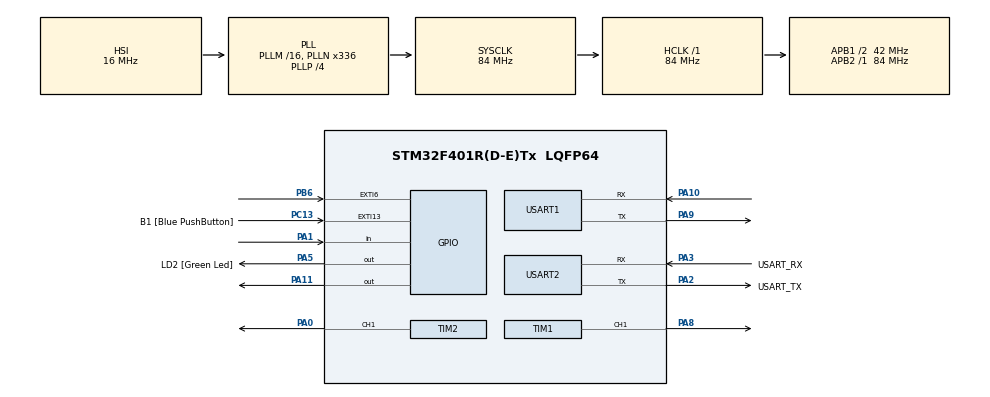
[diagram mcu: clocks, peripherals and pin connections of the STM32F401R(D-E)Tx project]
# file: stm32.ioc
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FREERTOS.Tasks01=defaultTask,24,128,StartDefaultTask,Default,NULL,Dynamic,NULL,NULL;ultraSonicTask,16,128,StartUltraSonic,Default,NULL,Dynamic,NULL,NULL;loadCellTask,8,128,StartLoadCell,Default,NULL,Dynamic,NULL,NULL;closeBinTask,8,128,StartCloseBin,Default,NULL,Dynamic,NULL,NULL
FREERTOS.configUSE_NEWLIB_REENTRANT=1
Mcu.Family=STM32F4
Mcu.Name=STM32F401R(D-E)Tx
Mcu.Package=LQFP64
NVIC.EXTI9_5_IRQn=true\:5\:0\:false\:false\:true\:true\:true\:true\:true
NVIC.PriorityGroup=NVIC_PRIORITYGROUP_4
NVIC.TIM3_IRQn=true\:15\:0\:false\:false\:true\:false\:false\:true\:true
NVIC.TimeBase=TIM3_IRQn
NVIC.TimeBaseIP=TIM3
PA0-WKUP.Signal=S_TIM2_CH1_ETR
PA1.Signal=GPIO_Input
PA10.Mode=Asynchronous
PA10.Signal=USART1_RX
PA11.Signal=GPIO_Output
PA13.GPIO_Label=TMS
PA13.Mode=Serial_Wire
PA13.Signal=SYS_JTMS-SWDIO
PA14.GPIO_Label=TCK
PA14.Mode=Serial_Wire
PA14.Signal=SYS_JTCK-SWCLK
PA2.GPIO_Label=USART_TX
PA2.GPIO_Mode=GPIO_MODE_AF_PP
PA2.GPIO_PuPd=GPIO_NOPULL
PA2.GPIO_Speed=GPIO_SPEED_FREQ_LOW
PA2.Mode=Asynchronous
PA2.Signal=USART2_TX
PA3.GPIO_Label=USART_RX
PA3.GPIO_Mode=GPIO_MODE_AF_PP
PA3.GPIO_PuPd=GPIO_NOPULL
PA3.GPIO_Speed=GPIO_SPEED_FREQ_LOW
PA3.Mode=Asynchronous
PA3.Signal=USART2_RX
PA5.GPIO_Label=LD2 [Green Led]
PA5.GPIO_Mode=GPIO_MODE_OUTPUT_PP
PA5.GPIO_PuPd=GPIO_NOPULL
PA5.GPIO_Speed=GPIO_SPEED_FREQ_LOW
PA5.Signal=GPIO_Output
PA8.Signal=S_TIM1_CH1
PA9.Mode=Asynchronous
PA9.Signal=USART1_TX
PB3.GPIO_Label=SWO
PB3.Signal=SYS_JTDO-SWO
PB6.Signal=GPXTI6
PC13-ANTI_TAMP.GPIO_Label=B1 [Blue PushButton]
PC13-ANTI_TAMP.GPIO_ModeDefaultEXTI=GPIO_MODE_IT_FALLING
PC13-ANTI_TAMP.GPIO_PuPd=GPIO_NOPULL
PC13-ANTI_TAMP.Signal=GPXTI13
PC14-OSC32_IN.Mode=LSE-External-Oscillator
PC14-OSC32_IN.Signal=RCC_OSC32_IN
PC15-OSC32_OUT.Mode=LSE-External-Oscillator
PC15-OSC32_OUT.Signal=RCC_OSC32_OUT
PH0\ -\ OSC_IN.Mode=HSE-External-Clock-Source
PH0\ -\ OSC_IN.Signal=RCC_OSC_IN
PH1\ -\ OSC_OUT.Mode=HSE-External-Clock-Source
PH1\ -\ OSC_OUT.Signal=RCC_OSC_OUT
ProjectManager.HeapSize=0x200
ProjectManager.StackSize=0x400
ProjectManager.TargetToolchain=STM32CubeIDE
RCC.48MHZClocksFreq_Value=48000000
RCC.AHBFreq_Value=84000000
RCC.APB1CLKDivider=RCC_HCLK_DIV2
RCC.APB1Freq_Value=42000000
RCC.APB1TimFreq_Value=84000000
RCC.APB2Freq_Value=84000000
RCC.APB2TimFreq_Value=84000000
RCC.CortexFreq_Value=84000000
RCC.HCLKFreq_Value=84000000
RCC.HSE_VALUE=8000000
RCC.HSI_VALUE=16000000
RCC.PLLN=336
RCC.PLLP=RCC_PLLP_DIV4
RCC.PLLQ=7
RCC.SYSCLKFreq_VALUE=84000000
RCC.SYSCLKSource=RCC_SYSCLKSOURCE_PLLCLK
RCC.VCOOutputFreq_Value=336000000
SH.S_TIM1_CH1.0=TIM1_CH1,PWM Generation1 CH1
SH.S_TIM2_CH1_ETR.0=TIM2_CH1,PWM Generation1 CH1
TIM1.Channel-PWM\ Generation1\ CH1=TIM_CHANNEL_1
TIM1.Period=1000 - 1
TIM1.Prescaler=84 - 1
TIM2.AutoReloadPreload=TIM_AUTORELOAD_PRELOAD_ENABLE
TIM2.Channel-PWM\ Generation1\ CH1=TIM_CHANNEL_1
TIM2.Period=100 - 1
TIM2.Prescaler=16800 - 1
USART1.VirtualMode=VM_ASYNC
USART2.VirtualMode=VM_ASYNC
VP_FREERTOS_VS_CMSIS_V2.Mode=CMSIS_V2
VP_SYS_VS_tim3.Mode=TIM3
VP_TIM2_VS_ClockSourceINT.Mode=Internal
board=NUCLEO-F401RE

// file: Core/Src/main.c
/* USER CODE BEGIN Header */
/**
 ******************************************************************************
 * @file           : main.c
 * @brief          : Main program body
 ******************************************************************************
 * @attention
 *
 * Copyright (c) 2023 STMicroelectronics.
 * All rights reserved.
 *
 * This software is licensed under terms that can be found in the LICENSE file
 * in the root directory of this software component.
 * If no LICENSE file comes with this software, it is provided AS-IS.
 *
 ******************************************************************************
 */
/* USER CODE END Header */
#include "main.h"
#include "cmsis_os.h"

/* USER CODE BEGIN Includes */
#include "hx711.h"
/* USER CODE END Includes */

TIM_HandleTypeDef htim1;
TIM_HandleTypeDef htim2;

UART_HandleTypeDef huart1;
UART_HandleTypeDef huart2;

/* Definitions for defaultTask */
osThreadId_t defaultTaskHandle;
const osThreadAttr_t defaultTask_attributes = {
  .name = "defaultTask",
  .stack_size = 128 * 4,
  .priority = (osPriority_t) osPriorityNormal,
};
/* Definitions for ultraSonicTask */
osThreadId_t ultraSonicTaskHandle;
const osThreadAttr_t ultraSonicTask_attributes = {
  .name = "ultraSonicTask",
  .stack_size = 128 * 4,
  .priority = (osPriority_t) osPriorityBelowNormal,
};
/* Definitions for loadCellTask */
osThreadId_t loadCellTaskHandle;
const osThreadAttr_t loadCellTask_attributes = {
  .name = "loadCellTask",
  .stack_size = 128 * 4,
  .priority = (osPriority_t) osPriorityLow,
};
/* Definitions for closeBinTask */
osThreadId_t closeBinTaskHandle;
const osThreadAttr_t closeBinTask_attributes = {
  .name = "closeBinTask",
  .stack_size = 128 * 4,
  .priority = (osPriority_t) osPriorityLow,
};
/* USER CODE BEGIN PV */
hx711_t loadcell;
/* USER CODE END PV */

void SystemClock_Config(void);
static void MX_GPIO_Init(void);
static void MX_USART2_UART_Init(void);
static void MX_USART1_UART_Init(void);
static void MX_TIM2_Init(void);
static void MX_TIM1_Init(void);
void StartDefaultTask(void *argument);
void StartUltraSonic(void *argument);
void StartLoadCell(void *argument);
void StartCloseBin(void *argument);

/* USER CODE BEGIN 0 */
int hit = 0;
int miss = 0;
uint8_t state = 0;
/*Size of FIFO*/
int size = 20;
/*Do not need to fix below*/

int oldest_idx = 0;
int total;
int delays[20];

void HAL_GPIO_EXTI_Callback(uint16_t GPIO_Pin) {
	if (GPIO_Pin == GPIO_PIN_6) {

		int delay = 1000001;
		int echo = HAL_GPIO_ReadPin(GPIOB, GPIO_PIN_6);

		if (echo) {
			delay = 0;
			while (HAL_GPIO_ReadPin(GPIOB, GPIO_PIN_6)) {
				delay++;
			}
		}

		if (delay < 1000001 && delay > 49) {

			total -= delays[oldest_idx];
			delays[oldest_idx] = delay;
			oldest_idx++;
			total += delay;
			if (oldest_idx > size - 1)
				oldest_idx = 0;

			//avg delay in FIFO
			int avg = total / size;
			uint8_t pData[7] = "       ";
			sprintf(pData, "%d\r\n", avg);
			HAL_UART_Transmit(&huart2, &pData, sizeof(pData), HAL_MAX_DELAY);

			if (avg < 500) {
				if (state == 0) {
					HAL_GPIO_WritePin(GPIOA, GPIO_PIN_5, 1);
					HAL_GPIO_WritePin(GPIOA, GPIO_PIN_11, 1);
					state = 1;
				}
			} else {
				if (state == 1) {
					HAL_GPIO_WritePin(GPIOA, GPIO_PIN_5, 0);
					HAL_GPIO_WritePin(GPIOA, GPIO_PIN_11, 0);
					state = 0;
				}
			}
		}
		osDelay(10);
	}

}
/* USER CODE END 0 */

int main(void)
{

  /* MCU Configuration--------------------------------------------------------*/

  /* Reset of all peripherals, Initializes the Flash interface and the Systick. */
  HAL_Init();

  /* Configure the system clock */
  SystemClock_Config();

  /* Initialize all configured peripherals */
  MX_GPIO_Init();
  MX_USART2_UART_Init();
  MX_USART1_UART_Init();
  MX_TIM2_Init();
  MX_TIM1_Init();

  /* Init scheduler */
  osKernelInitialize();

  /* Create the thread(s) */
  /* creation of defaultTask */
  defaultTaskHandle = osThreadNew(StartDefaultTask, NULL, &defaultTask_attributes);

  /* creation of ultraSonicTask */
  ultraSonicTaskHandle = osThreadNew(StartUltraSonic, NULL, &ultraSonicTask_attributes);

  /* creation of loadCellTask */
  loadCellTaskHandle = osThreadNew(StartLoadCell, NULL, &loadCellTask_attributes);

  /* creation of closeBinTask */
  closeBinTaskHandle = osThreadNew(StartCloseBin, NULL, &closeBinTask_attributes);

  /* Start scheduler */
  osKernelStart();

  /* We should never get here as control is now taken by the scheduler */
  /* Infinite loop */
	while (1) {

	}
}

void SystemClock_Config(void)
{
  RCC_OscInitTypeDef RCC_OscInitStruct = {0};
  RCC_ClkInitTypeDef RCC_ClkInitStruct = {0};

  /** Configure the main internal regulator output voltage
  */
  __HAL_RCC_PWR_CLK_ENABLE();
  __HAL_PWR_VOLTAGESCALING_CONFIG(PWR_REGULATOR_VOLTAGE_SCALE2);

  /** Initializes the RCC Oscillators according to the specified parameters
  * in the RCC_OscInitTypeDef structure.
  */
  RCC_OscInitStruct.OscillatorType = RCC_OSCILLATORTYPE_HSI;
  RCC_OscInitStruct.HSIState = RCC_HSI_ON;
  RCC_OscInitStruct.HSICalibrationValue = RCC_HSICALIBRATION_DEFAULT;
  RCC_OscInitStruct.PLL.PLLState = RCC_PLL_ON;
  RCC_OscInitStruct.PLL.PLLSource = RCC_PLLSOURCE_HSI;
  RCC_OscInitStruct.PLL.PLLM = 16;
  RCC_OscInitStruct.PLL.PLLN = 336;
  RCC_OscInitStruct.PLL.PLLP = RCC_PLLP_DIV4;
  RCC_OscInitStruct.PLL.PLLQ = 7;
  if (HAL_RCC_OscConfig(&RCC_OscInitStruct) != HAL_OK)
  {
    Error_Handler();
  }

  /** Initializes the CPU, AHB and APB buses clocks
  */
  RCC_ClkInitStruct.ClockType = RCC_CLOCKTYPE_HCLK|RCC_CLOCKTYPE_SYSCLK
                              |RCC_CLOCKTYPE_PCLK1|RCC_CLOCKTYPE_PCLK2;
  RCC_ClkInitStruct.SYSCLKSource = RCC_SYSCLKSOURCE_PLLCLK;
  RCC_ClkInitStruct.AHBCLKDivider = RCC_SYSCLK_DIV1;
  RCC_ClkInitStruct.APB1CLKDivider = RCC_HCLK_DIV2;
  RCC_ClkInitStruct.APB2CLKDivider = RCC_HCLK_DIV1;

  if (HAL_RCC_ClockConfig(&RCC_ClkInitStruct, FLASH_LATENCY_2) != HAL_OK)
  {
    Error_Handler();
  }
}

static void MX_TIM1_Init(void)
{

  TIM_MasterConfigTypeDef sMasterConfig = {0};
  TIM_OC_InitTypeDef sConfigOC = {0};
  TIM_BreakDeadTimeConfigTypeDef sBreakDeadTimeConfig = {0};

  htim1.Instance = TIM1;
  htim1.Init.Prescaler = 84 - 1;
  htim1.Init.CounterMode = TIM_COUNTERMODE_UP;
  htim1.Init.Period = 1000 - 1;
  htim1.Init.ClockDivision = TIM_CLOCKDIVISION_DIV1;
  htim1.Init.RepetitionCounter = 0;
  htim1.Init.AutoReloadPreload = TIM_AUTORELOAD_PRELOAD_DISABLE;
  if (HAL_TIM_PWM_Init(&htim1) != HAL_OK)
  {
    Error_Handler();
  }
  sMasterConfig.MasterOutputTrigger = TIM_TRGO_RESET;
  sMasterConfig.MasterSlaveMode = TIM_MASTERSLAVEMODE_DISABLE;
  if (HAL_TIMEx_MasterConfigSynchronization(&htim1, &sMasterConfig) != HAL_OK)
  {
    Error_Handler();
  }
  sConfigOC.OCMode = TIM_OCMODE_PWM1;
  sConfigOC.Pulse = 0;
  sConfigOC.OCPolarity = TIM_OCPOLARITY_HIGH;
  sConfigOC.OCNPolarity = TIM_OCNPOLARITY_HIGH;
  sConfigOC.OCFastMode = TIM_OCFAST_DISABLE;
  sConfigOC.OCIdleState = TIM_OCIDLESTATE_RESET;
  sConfigOC.OCNIdleState = TIM_OCNIDLESTATE_RESET;
  if (HAL_TIM_PWM_ConfigChannel(&htim1, &sConfigOC, TIM_CHANNEL_1) != HAL_OK)
  {
    Error_Handler();
  }
  sBreakDeadTimeConfig.OffStateRunMode = TIM_OSSR_DISABLE;
  sBreakDeadTimeConfig.OffStateIDLEMode = TIM_OSSI_DISABLE;
  sBreakDeadTimeConfig.LockLevel = TIM_LOCKLEVEL_OFF;
  sBreakDeadTimeConfig.DeadTime = 0;
  sBreakDeadTimeConfig.BreakState = TIM_BREAK_DISABLE;
  sBreakDeadTimeConfig.BreakPolarity = TIM_BREAKPOLARITY_HIGH;
  sBreakDeadTimeConfig.AutomaticOutput = TIM_AUTOMATICOUTPUT_DISABLE;
  if (HAL_TIMEx_ConfigBreakDeadTime(&htim1, &sBreakDeadTimeConfig) != HAL_OK)
  {
    Error_Handler();
  }
  HAL_TIM_MspPostInit(&htim1);

}

static void MX_TIM2_Init(void)
{

  TIM_ClockConfigTypeDef sClockSourceConfig = {0};
  TIM_MasterConfigTypeDef sMasterConfig = {0};
  TIM_OC_InitTypeDef sConfigOC = {0};

  htim2.Instance = TIM2;
  htim2.Init.Prescaler = 16800 - 1;
  htim2.Init.CounterMode = TIM_COUNTERMODE_UP;
  htim2.Init.Period = 100 - 1;
  htim2.Init.ClockDivision = TIM_CLOCKDIVISION_DIV1;
  htim2.Init.AutoReloadPreload = TIM_AUTORELOAD_PRELOAD_ENABLE;
  if (HAL_TIM_Base_Init(&htim2) != HAL_OK)
  {
    Error_Handler();
  }
  sClockSourceConfig.ClockSource = TIM_CLOCKSOURCE_INTERNAL;
  if (HAL_TIM_ConfigClockSource(&htim2, &sClockSourceConfig) != HAL_OK)
  {
    Error_Handler();
  }
  if (HAL_TIM_PWM_Init(&htim2) != HAL_OK)
  {
    Error_Handler();
  }
  sMasterConfig.MasterOutputTrigger = TIM_TRGO_RESET;
  sMasterConfig.MasterSlaveMode = TIM_MASTERSLAVEMODE_DISABLE;
  if (HAL_TIMEx_MasterConfigSynchronization(&htim2, &sMasterConfig) != HAL_OK)
  {
    Error_Handler();
  }
  sConfigOC.OCMode = TIM_OCMODE_PWM1;
  sConfigOC.Pulse = 0;
  sConfigOC.OCPolarity = TIM_OCPOLARITY_HIGH;
  sConfigOC.OCFastMode = TIM_OCFAST_DISABLE;
  if (HAL_TIM_PWM_ConfigChannel(&htim2, &sConfigOC, TIM_CHANNEL_1) != HAL_OK)
  {
    Error_Handler();
  }
  HAL_TIM_MspPostInit(&htim2);

}

static void MX_USART1_UART_Init(void)
{

  huart1.Instance = USART1;
  huart1.Init.BaudRate = 115200;
  huart1.Init.WordLength = UART_WORDLENGTH_8B;
  huart1.Init.StopBits = UART_STOPBITS_1;
  huart1.Init.Parity = UART_PARITY_NONE;
  huart1.Init.Mode = UART_MODE_TX_RX;
  huart1.Init.HwFlowCtl = UART_HWCONTROL_NONE;
  huart1.Init.OverSampling = UART_OVERSAMPLING_16;
  if (HAL_UART_Init(&huart1) != HAL_OK)
  {
    Error_Handler();
  }

}

static void MX_USART2_UART_Init(void)
{

  huart2.Instance = USART2;
  huart2.Init.BaudRate = 115200;
  huart2.Init.WordLength = UART_WORDLENGTH_8B;
  huart2.Init.StopBits = UART_STOPBITS_1;
  huart2.Init.Parity = UART_PARITY_NONE;
  huart2.Init.Mode = UART_MODE_TX_RX;
  huart2.Init.HwFlowCtl = UART_HWCONTROL_NONE;
  huart2.Init.OverSampling = UART_OVERSAMPLING_16;
  if (HAL_UART_Init(&huart2) != HAL_OK)
  {
    Error_Handler();
  }

}

static void MX_GPIO_Init(void)
{
  GPIO_InitTypeDef GPIO_InitStruct = {0};

  /* GPIO Ports Clock Enable */
  __HAL_RCC_GPIOC_CLK_ENABLE();
  __HAL_RCC_GPIOH_CLK_ENABLE();
  __HAL_RCC_GPIOA_CLK_ENABLE();
  __HAL_RCC_GPIOB_CLK_ENABLE();

  /*Configure GPIO pin Output Level */
  HAL_GPIO_WritePin(GPIOA, LD2_Pin|GPIO_PIN_11, GPIO_PIN_RESET);

  /*Configure GPIO pin : B1_Pin */
  GPIO_InitStruct.Pin = B1_Pin;
  GPIO_InitStruct.Mode = GPIO_MODE_IT_FALLING;
  GPIO_InitStruct.Pull = GPIO_NOPULL;
  HAL_GPIO_Init(B1_GPIO_Port, &GPIO_InitStruct);

  /*Configure GPIO pin : PA1 */
  GPIO_InitStruct.Pin = GPIO_PIN_1;
  GPIO_InitStruct.Mode = GPIO_MODE_INPUT;
  GPIO_InitStruct.Pull = GPIO_NOPULL;
  HAL_GPIO_Init(GPIOA, &GPIO_InitStruct);

  /*Configure GPIO pins : LD2_Pin PA11 */
  GPIO_InitStruct.Pin = LD2_Pin|GPIO_PIN_11;
  GPIO_InitStruct.Mode = GPIO_MODE_OUTPUT_PP;
  GPIO_InitStruct.Pull = GPIO_NOPULL;
  GPIO_InitStruct.Speed = GPIO_SPEED_FREQ_LOW;
  HAL_GPIO_Init(GPIOA, &GPIO_InitStruct);

  /*Configure GPIO pin : PB6 */
  GPIO_InitStruct.Pin = GPIO_PIN_6;
  GPIO_InitStruct.Mode = GPIO_MODE_IT_RISING;
  GPIO_InitStruct.Pull = GPIO_NOPULL;
  HAL_GPIO_Init(GPIOB, &GPIO_InitStruct);

  /* EXTI interrupt init*/
  HAL_NVIC_SetPriority(EXTI9_5_IRQn, 5, 0);
  HAL_NVIC_EnableIRQ(EXTI9_5_IRQn);

}

void StartDefaultTask(void *argument)
{
	for (;;) {
		osDelay(1);
	}
}

void StartUltraSonic(void *argument)
{
  /* USER CODE BEGIN StartUltraSonic */
	HAL_TIM_PWM_Start(&htim1, TIM_CHANNEL_1);
	TIM1->CCR1 = 10;
	total = 20 * 100001;
	for (int i = 0; i < size; i++) {
		delays[i] = 100001;
	}
	/* Infinite loop */
	for (;;) {
		osDelay(1);
	}
  /* USER CODE END StartUltraSonic */
}

void StartLoadCell(void *argument)
{
  /* USER CODE BEGIN StartLoadCell */
	HAL_TIM_Base_Start(&htim2);
	HAL_TIM_PWM_Start(&htim2, TIM_CHANNEL_1);

	HX711_Init(&loadcell, GPIOA, GPIO_PIN_4, GPIOB, GPIO_PIN_0, 3);
	HX711_Calibrate(&loadcell, (8227020 - 8180820) / 179);

	uint8_t isOpen = 0;
	/* Infinite loop */
	for (;;) {
		int weight = HX711_GetWeight(&loadcell); // gram
		char data[50] = { };
		int sz = sprintf(data, "%d\r\n", weight);
		HAL_UART_Transmit(&huart2, data, sz, 100);
		HAL_UART_Transmit(&huart1, data, sz, 100);
		osDelay(1000);
	}
  /* USER CODE END StartLoadCell */
}

void StartCloseBin(void *argument)
{
  /* USER CODE BEGIN StartCloseBin */
	int holdTime = 0;
	/* Infinite loop */
	for (;;) {
		if (HAL_GPIO_ReadPin(GPIOA, GPIO_PIN_1)) {
			//HAL_GPIO_WritePin(GPIOA, GPIO_PIN_5, 1);
			TIM2->CCR1 = 3;
			holdTime = 5;
		} else {
			//HAL_GPIO_WritePin(GPIOA, GPIO_PIN_5, 0);
		}

		if (holdTime > 0)

			holdTime--;
		else {
			TIM2->CCR1 = 13; //close
		}
		osDelay(1000);
	}
  /* USER CODE END StartCloseBin */
}

void HAL_TIM_PeriodElapsedCallback(TIM_HandleTypeDef *htim)
{
  if (htim->Instance == TIM3) {
    HAL_IncTick();
  }
}

void Error_Handler(void)
{
	__disable_irq();
	while (1) {
	}
}
